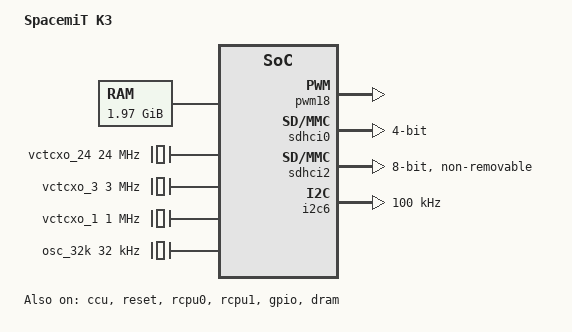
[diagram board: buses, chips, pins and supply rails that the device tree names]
// SPDX-License-Identifier: GPL-2.0+ OR MIT
/*
 * Copyright (C) 2025-2026, Spacemit
 *
 * SpacemiT K3 (X100) SoC base device tree for the upstream port.
 *
 * This describes the SoC. Board files (e.g. k3-pico-itx.dts) include it and
 * enable / override the peripherals their hardware wires up.
 *
 * The same DTB is consumed by two phases:
 *  - The SPL (XPL, M-mode FSBL) is fed the fdtgrep-filtered copy that keeps
 *    only the nodes tagged "bootph-*". The SPL needs the boot UART (for the DM
 *    console) and the DDR controller (UCLASS_RAM probe brings up DRAM).
 *  - U-Boot proper (S-mode, after OpenSBI) uses the full tree to bind its
 *    console and report memory.
 *
 * DDR init needs none of the clock/reset/pinctrl nodes: the controller is
 * clocked by the BROM and the driver only reads its two register banks plus
 * the "part-number" fallback (see drivers/ddr/spacemit/k3/ddr_init.c).
 */

#include <dt-bindings/clock/spacemit-k3-clock.h>
#include <dt-bindings/reset/spacemit-k3-reset.h>
#include <dt-bindings/pinctrl/k3-pinctrl.h>

/ {
	#address-cells = <2>;
	#size-cells = <2>;
	model = "SpacemiT K3";
	compatible = "spacemit,k3";

	aliases {
		serial0 = &uart0;
		mmc0 = &sdhci0;
		mmc2 = &sdhci2;
		i2c1 = &i2c1;
		i2c2 = &i2c2;
		i2c6 = &i2c6;
		i2c8 = &i2c8;
		spi0 = &qspi;
	};

	chosen {
		stdout-path = "serial0:115200";
	};

	cpus {
		bootph-all;
		#address-cells = <1>;
		#size-cells = <0>;
		timebase-frequency = <24000000>;
		clocks = <&ccu CLK_TOP_DCLK>,
			 <&ccu CLK_AXICLK>,
			 <&ccu CLK_CCI550>,
			 <&ccu CLK_CPU_C0_CORE>,
			 <&ccu CLK_CPU_C1_CORE>,
			 <&ccu CLK_CPU_C2_CORE>,
			 <&ccu CLK_CPU_C3_CORE>,
			 <&ccu CLK_PLL3>,
			 <&ccu CLK_PLL4>,
			 <&ccu CLK_PLL5>,
			 <&ccu CLK_PLL8>,
			 <&ccu CLK_PLL3_D1>,
			 <&ccu CLK_CPU_C1_PLL_SRC>,
			 <&ccu CLK_PLL5_D1>,
			 <&ccu CLK_CPU_C3_PLL_SRC>;
		clock-names = "topd", "axi", "cci", "cluster0", "cluster1", "cluster2", "cluster3",
			       "pll3", "pll4", "pll5", "pll8", "pll_src3", "clt1_pll_src", "pll_src5", "clt3_pll_src";
		topd_frequency = <800000000>;
		axi_frequency =  <307000000>;
		cci_frequency =  <1228000000>;
		cluster0_frequency = <2200000000>;
		cluster1_frequency = <2200000000>;
		cluster2_frequency = <1800000000>;
		cluster3_frequency = <1800000000>;

		cpu_0: cpu@0 {
			device_type = "cpu";
			reg = <0>;
			status = "okay";
			compatible = "riscv";
			riscv,isa = "rv64imafdcvh_zicbom_sstc_svpbmt";
			riscv,isa-base = "rv64i";
			riscv,cbom-block-size = <64>;
			riscv,cboz-block-size = <64>;
			mmu-type = "riscv,sv39";

			cpu0_intc: interrupt-controller {
				#interrupt-cells = <1>;
				compatible = "riscv,cpu-intc";
				interrupt-controller;
			};
		};

		cpu_1: cpu@1 {
			device_type = "cpu";
			reg = <1>;
			status = "okay";
			compatible = "riscv";
			riscv,isa = "rv64imafdcvh_zicbom_sstc_svpbmt";
			riscv,isa-base = "rv64i";
			riscv,cbom-block-size = <64>;
			riscv,cboz-block-size = <64>;
			mmu-type = "riscv,sv39";

			cpu1_intc: interrupt-controller {
				#interrupt-cells = <1>;
				compatible = "riscv,cpu-intc";
				interrupt-controller;
			};
		};

		cpu_2: cpu@2 {
			device_type = "cpu";
			reg = <2>;
			status = "okay";
			compatible = "riscv";
			riscv,isa = "rv64imafdcvh_zicbom_sstc_svpbmt";
			riscv,isa-base = "rv64i";
			riscv,cbom-block-size = <64>;
			riscv,cboz-block-size = <64>;
			mmu-type = "riscv,sv39";

			cpu2_intc: interrupt-controller {
				#interrupt-cells = <1>;
				compatible = "riscv,cpu-intc";
				interrupt-controller;
			};
		};

		cpu_3: cpu@3 {
			device_type = "cpu";
			reg = <3>;
			status = "okay";
			compatible = "riscv";
			riscv,isa = "rv64imafdcvh_zicbom_sstc_svpbmt";
			riscv,isa-base = "rv64i";
			riscv,cbom-block-size = <64>;
			riscv,cboz-block-size = <64>;
			mmu-type = "riscv,sv39";

			cpu3_intc: interrupt-controller {
				#interrupt-cells = <1>;
				compatible = "riscv,cpu-intc";
				interrupt-controller;
			};
		};

		cpu_4: cpu@4 {
			device_type = "cpu";
			reg = <4>;
			status = "okay";
			compatible = "riscv";
			riscv,isa = "rv64imafdcvh_zicbom_sstc_svpbmt";
			riscv,isa-base = "rv64i";
			riscv,cbom-block-size = <64>;
			riscv,cboz-block-size = <64>;
			mmu-type = "riscv,sv39";

			cpu4_intc: interrupt-controller {
				#interrupt-cells = <1>;
				compatible = "riscv,cpu-intc";
				interrupt-controller;
			};
		};

		cpu_5: cpu@5 {
			device_type = "cpu";
			reg = <5>;
			status = "okay";
			compatible = "riscv";
			riscv,isa = "rv64imafdcvh_zicbom_sstc_svpbmt";
			riscv,isa-base = "rv64i";
			riscv,cbom-block-size = <64>;
			riscv,cboz-block-size = <64>;
			mmu-type = "riscv,sv39";

			cpu5_intc: interrupt-controller {
				#interrupt-cells = <1>;
				compatible = "riscv,cpu-intc";
				interrupt-controller;
			};
		};

		cpu_6: cpu@6 {
			device_type = "cpu";
			reg = <6>;
			status = "okay";
			compatible = "riscv";
			riscv,isa = "rv64imafdcvh_zicbom_sstc_svpbmt";
			riscv,isa-base = "rv64i";
			riscv,cbom-block-size = <64>;
			riscv,cboz-block-size = <64>;
			mmu-type = "riscv,sv39";

			cpu6_intc: interrupt-controller {
				#interrupt-cells = <1>;
				compatible = "riscv,cpu-intc";
				interrupt-controller;
			};
		};

		cpu_7: cpu@7 {
			device_type = "cpu";
			reg = <7>;
			status = "okay";
			compatible = "riscv";
			riscv,isa = "rv64imafdcvh_zicbom_sstc_svpbmt";
			riscv,isa-base = "rv64i";
			riscv,cbom-block-size = <64>;
			riscv,cboz-block-size = <64>;
			mmu-type = "riscv,sv39";

			cpu7_intc: interrupt-controller {
				#interrupt-cells = <1>;
				compatible = "riscv,cpu-intc";
				interrupt-controller;
			};
		};
	};

	memory@100000000 {
		device_type = "memory";
		reg = <0x1 0x02000000 0x0 0x7e000000>;
	};

	vctcxo_24: vctcxo_24 {
		bootph-all;
		compatible = "fixed-clock";
		#clock-cells = <0>;
		clock-frequency = <24000000>;
		clock-output-names = "vctcxo_24";
	};

	vctcxo_3: vctcxo_3 {
		bootph-all;
		compatible = "fixed-clock";
		#clock-cells = <0>;
		clock-frequency = <3000000>;
		clock-output-names = "vctcxo_3";
	};

	vctcxo_1: vctcxo_1 {
		bootph-all;
		compatible = "fixed-clock";
		#clock-cells = <0>;
		clock-frequency = <1000000>;
		clock-output-names = "vctcxo_1";
	};

	pll1_vco: pll1_vco {
		bootph-all;
		compatible = "fixed-clock";
		#clock-cells = <0>;
		clock-frequency = <24576000>;
		clock-output-names = "pll1_vco";
	};

	osc_32k: osc_32k {
		bootph-all;
		compatible = "fixed-clock";
		#clock-cells = <0>;
		clock-frequency = <32000>;
		clock-output-names = "osc_32k";
	};

	clk_dummy: clk_dummy {
		bootph-all;
		compatible = "fixed-clock";
		#clock-cells = <0>;
		clock-frequency = <0>;
		clock-output-names = "clk_dummy";
	};

	soc: soc {
		#address-cells = <2>;
		#size-cells = <2>;
		compatible = "simple-bus";
		ranges;

		uart0: serial@d4017000 {
			compatible = "ns16550";
			reg = <0x0 0xd4017000 0x0 0x100>;
			reg-shift = <2>;
			reg-io-width = <4>;
			clock-frequency = <14745600>;
			status = "disabled";
		};

		ccu: clock-controller@d4050000 {
			bootph-pre-ram;
			compatible = "spacemit,k3-ccu";
			reg = <0x0 0xd4050000 0x0 0x209c>,
			      <0x0 0xd4282800 0x0 0x400>,
			      <0x0 0xd4015000 0x0 0x1000>,
			      <0x0 0xd4090000 0x0 0x1000>,
			      <0x0 0xd4282c00 0x0 0x400>,
			      <0x0 0xd8440000 0x0 0x98>,
			      <0x0 0xc0000000 0x0 0x4280>,
			      <0x0 0xf0610000 0x0 0x20>,
			      <0x0 0xc0880000 0x0 0xd100>;
			reg-names = "mpmu", "apmu", "apbc", "apbs", "ciu", "dciu", "ddrc", "apbc2", "rcpu";
			clocks = <&vctcxo_24>, <&vctcxo_3>, <&vctcxo_1>, <&pll1_vco>,
				 <&osc_32k>, <&clk_dummy>;
			clock-names = "vctcxo_24", "vctcxo_3", "vctcxo_1", "pll1_vco",
				      "osc_32k", "clk_dummy";
			#clock-cells = <1>;
			status = "okay";
		};

		reset: reset-controller@d4050000 {
			bootph-all;
			compatible = "spacemit,k3-reset";
			reg = <0x0 0xd4050000 0x0 0x209c>,
			      <0x0 0xd4282800 0x0 0x400>,
			      <0x0 0xd4015000 0x0 0x1000>,
			      <0x0 0xd4090000 0x0 0x1000>,
			      <0x0 0xd4282c00 0x0 0x400>,
			      <0x0 0xd8440000 0x0 0x98>,
			      <0x0 0xc0000000 0x0 0x4280>,
			      <0x0 0xf0610000 0x0 0x20>,
			      <0x0 0xc0880000 0x0 0xd100>;
			reg-names = "mpmu", "apmu", "apbc", "apbs", "ciu", "dciu", "ddrc", "apbc2", "rcpu";
			#reset-cells = <1>;
			status = "okay";
		};

		/*
		 * RCPU power processors (ESOS/RT-Thread firmware = the RPMI
		 * agent behind the rpmi-shmem queues below). Loaded and started
		 * by the SPL (FIT post-process hook) BEFORE OpenSBI probes the
		 * RPMI base group. Enabled nodes also arm the OpenSBI PMP locks
		 * on the RCPU memory regions. U-Boot proper never probes them
		 * (driver is SPL-only): a re-probe would memset the heap of a
		 * live RCPU.
		 */
		rcpu0: rcpu@0 {
			compatible = "spacemit,k3-rproc";
			bootph-pre-ram;
			reg = <0x0 0x0 0x0 0x0>;
			remoteproc-name = "rcpu0";
			coreid = <0>;
			mem_heap_start = <0x1 0x500000>;
			mem_heap_size = <0x200000>;
			fw_boot_entry = <0x1 0x200000>;
			status = "okay";
		};

		rcpu1: rcpu@1 {
			compatible = "spacemit,k3-rproc";
			bootph-pre-ram;
			reg = <0x0 0x0 0x0 0x0>;
			remoteproc-name = "rcpu1";
			coreid = <1>;
			mem_heap_start = <0x1 0xb00000>;
			mem_heap_size = <0x200000>;
			fw_boot_entry = <0x1 0x800000>;
			status = "okay";
		};

		rpmi_shmem_mbox: rpmi-shmem-mbox@100e00000 {
			compatible = "riscv,rpmi-shmem-mbox";
			reg = <0x1 0x00e00000 0x0 0x1000>,
			      <0x1 0x00e01000 0x0 0x1000>,
			      <0x1 0x00e02000 0x0 0x1000>,
			      <0x1 0x00e03000 0x0 0x1000>,
			      <0x0 0xcac90c00 0x0 0x200>;
			reg-names = "a2p-req", "p2a-ack", "p2a-req", "a2p-ack", "a2p-doorbell";
			riscv,slot-size = <256>;
			riscv,a2p-doorbell-value = <1>;
			#mbox-cells = <1>;
			status = "okay";
		};

		rpmi_mpxy_device_power: rpmi-mpxy-device-power {
			compatible = "riscv,rpmi-mpxy-device-power";
			mboxes = <&rpmi_shmem_mbox 9>;
			riscv,sbi-mpxy-channel-id = <9>;
			status = "okay";
		};

		gpio: gpio@d4019000 {
			compatible = "spacemit,k3-gpio";
			reg = <0x0 0xd4019000 0x0 0x800>;
			gpio-controller;
			gpio-count = <128>;
			#gpio-cells = <2>;
			clocks = <&ccu CLK_GPIO>;
			status = "okay";
		};

		pinctrl: pinctrl@d401e000 {
			bootph-all;
			compatible = "pinctrl-single";
			reg = <0x0 0xd401e000 0x0 0x400>;
			#address-cells = <1>;
			#size-cells = <1>;
			#pinctrl-cells = <2>;
			#gpio-range-cells = <3>;
			pinctrl-single,register-width = <32>;
			pinctrl-single,function-mask = <0xff77>;

			range: gpio-range {
				#pinctrl-single,gpio-range-cells = <3>;
			};

			pinctrl_qspi: qspi_grp {
				bootph-all;
				power-source = <1800>;
				pinctrl-single,pins = <
					K3_PADCONF(QSPI_DAT3, MUX_MODE0, (EDGE_NONE | PULL_DIS | PAD_DS8)) /* qspi_d3 */
					K3_PADCONF(QSPI_DAT2, MUX_MODE0, (EDGE_NONE | PULL_DIS | PAD_DS8)) /* qspi_d2 */
					K3_PADCONF(QSPI_DAT1, MUX_MODE0, (EDGE_NONE | PULL_DIS | PAD_DS8)) /* qspi_d1 */
					K3_PADCONF(QSPI_DAT0, MUX_MODE0, (EDGE_NONE | PULL_DIS | PAD_DS8)) /* qspi_d0 */
					K3_PADCONF(QSPI_CLK, MUX_MODE0, (EDGE_NONE | PULL_DIS | PAD_DS8)) /* qspi_clk */
				>;
			};

			pinctrl_qspi_cs0: qspi_cs0_grp {
				bootph-all;
				power-source = <1800>;
				pinctrl-single,pins = <
					K3_PADCONF(QSPI_CS0, MUX_MODE0, (EDGE_NONE | PULL_UP | PAD_DS8)) /* qspi_cs0 */
				>;
			};

			pinctrl_i2c8: i2c8_grp {
				bootph-all;
				power-source = <1800>;
				pinctrl-single,pins = <
					K3_PADCONF(PWR_SCL, MUX_MODE0, (EDGE_NONE | PULL_UP | PAD_DS0)) /* pwr_scl */
					K3_PADCONF(PWR_SDA, MUX_MODE0, (EDGE_NONE | PULL_UP | PAD_DS0)) /* pwr_sda */
				>;
			};

			pinctrl_espi0: espi0_grp {
				pinctrl-single,pins = <
					K3_PADCONF(GPIO_91, MUX_MODE4, (EDGE_NONE | PULL_UP | PAD_DS8)) /* espi_d0 */
					K3_PADCONF(GPIO_92, MUX_MODE4, (EDGE_NONE | PULL_UP | PAD_DS8)) /* espi_d1 */
					K3_PADCONF(GPIO_93, MUX_MODE4, (EDGE_NONE | PULL_UP | PAD_DS8)) /* espi_d2 */
					K3_PADCONF(GPIO_94, MUX_MODE4, (EDGE_NONE | PULL_UP | PAD_DS8)) /* espi_d3 */
					K3_PADCONF(GPIO_95, MUX_MODE4, (EDGE_NONE | PULL_UP | PAD_DS8)) /* espi_cs */
					K3_PADCONF(GPIO_96, MUX_MODE4, (EDGE_NONE | PULL_UP | PAD_DS8)) /* espi_clk */
					K3_PADCONF(GPIO_97, MUX_MODE4, (EDGE_NONE | PULL_UP | PAD_DS8)) /* espi_resetn */
					K3_PADCONF(GPIO_98, MUX_MODE4, (EDGE_NONE | PULL_UP | PAD_DS8)) /* espi_alert */
				>;
			};

			pinctrl_i2c1_3: i2c1_3_grp {
				pinctrl-single,pins = <
					K3_PADCONF(GPIO_102, MUX_MODE6, (EDGE_NONE | PULL_UP | PAD_DS0)) /* i2c1_scl */
					K3_PADCONF(GPIO_103, MUX_MODE6, (EDGE_NONE | PULL_UP | PAD_DS0)) /* i2c1_sda */
				>;
			};

			pinctrl_i2c2_1: i2c2_1_grp {
				pinctrl-single,pins = <
					K3_PADCONF(GPIO_46, MUX_MODE5, (EDGE_NONE | PULL_UP | PAD_DS0)) /* i2c2_scl */
					K3_PADCONF(GPIO_47, MUX_MODE5, (EDGE_NONE | PULL_UP | PAD_DS0)) /* i2c2_sda */
				>;
			};

			pinctrl_gmac0: gmac0_grp {
				pinctrl-single,pins = <
					K3_PADCONF(GPIO_00, MUX_MODE1, (EDGE_NONE | PULL_DIS | PAD_DS4)) /* gmac0_rxdv */
					K3_PADCONF(GPIO_01, MUX_MODE1, (EDGE_NONE | PULL_DIS | PAD_DS4)) /* gmac0_rx_d0 */
					K3_PADCONF(GPIO_02, MUX_MODE1, (EDGE_NONE | PULL_DIS | PAD_DS4)) /* gmac0_rx_d1 */
					K3_PADCONF(GPIO_03, MUX_MODE1, (EDGE_NONE | PULL_DIS | PAD_DS4)) /* gmac0_rx_clk */
					K3_PADCONF(GPIO_04, MUX_MODE1, (EDGE_NONE | PULL_DIS | PAD_DS4)) /* gmac0_rx_d2 */
					K3_PADCONF(GPIO_05, MUX_MODE1, (EDGE_NONE | PULL_DIS | PAD_DS4)) /* gmac0_rx_d3 */
					K3_PADCONF(GPIO_06, MUX_MODE1, (EDGE_NONE | PULL_DIS | PAD_DS4)) /* gmac0_tx_d0 */
					K3_PADCONF(GPIO_07, MUX_MODE1, (EDGE_NONE | PULL_DIS | PAD_DS4)) /* gmac0_tx_d1 */
					K3_PADCONF(GPIO_08, MUX_MODE1, (EDGE_NONE | PULL_DIS | PAD_DS4)) /* gmac0_tx_clk */
					K3_PADCONF(GPIO_09, MUX_MODE1, (EDGE_NONE | PULL_DIS | PAD_DS4)) /* gmac0_tx_d2 */
					K3_PADCONF(GPIO_10, MUX_MODE1, (EDGE_NONE | PULL_DIS | PAD_DS4)) /* gmac0_tx_d3 */
					K3_PADCONF(GPIO_11, MUX_MODE1, (EDGE_NONE | PULL_DIS | PAD_DS4)) /* gmac0_tx_en */
					K3_PADCONF(GPIO_12, MUX_MODE1, (EDGE_NONE | PULL_DIS | PAD_DS4)) /* gmac0_mdc */
					K3_PADCONF(GPIO_13, MUX_MODE1, (EDGE_NONE | PULL_DIS | PAD_DS4)) /* gmac0_mdio */
					K3_PADCONF(GPIO_14, MUX_MODE1, (EDGE_NONE | PULL_DIS | PAD_DS4)) /* gmac0_int_n */
					K3_PADCONF(GPIO_20, MUX_MODE1, (EDGE_NONE | PULL_DIS | PAD_DS4)) /* gmac0_clk_ref */
				>;
			};

			pinctrl_pcie0_1: pcie0_1_grp {
				pinctrl-single,pins = <
					K3_PADCONF(GPIO_79, MUX_MODE5, (EDGE_NONE | PULL_DIS | PAD_DS4)) /* PCIeA_perstn */
					K3_PADCONF(GPIO_80, MUX_MODE5, (EDGE_NONE | PULL_DIS | PAD_DS4)) /* PCIeA_waken */
					K3_PADCONF(GPIO_81, MUX_MODE5, (EDGE_NONE | PULL_DIS | PAD_DS4)) /* PCIeA_clkreqn */
				>;
			};

			pinctrl_pcie1_1: pcie1_1_grp {
				pinctrl-single,pins = <
					K3_PADCONF(GPIO_88, MUX_MODE4, (EDGE_NONE | PULL_DIS | PAD_DS4)) /* PCIeB_perstn */
					K3_PADCONF(GPIO_89, MUX_MODE4, (EDGE_NONE | PULL_DIS | PAD_DS4)) /* PCIeB_waken */
					K3_PADCONF(GPIO_90, MUX_MODE4, (EDGE_NONE | PULL_DIS | PAD_DS4)) /* PCIeB_clkreqn */
				>;
			};
		};

		/*
		 * DDR controller. Two register banks (ddrc0, ddrc1). The driver
		 * (compatible "spacemit,snps-lp45") runs LPDDR4X/LPDDR5 training
		 * in the SPL. "part-number" is the fallback used when the board
		 * TLV-EEPROM is unavailable (it is on this port).
		 */
		dram: ddr@cb000000 {
			compatible = "spacemit,snps-lp45";
			part-number = "MT62F1G32D2DS";
			reg = <0x0 0xcb000000 0x0 0x00400000>,
			      <0x0 0xcc000000 0x0 0x00400000>;
			reg-names = "ddrc0", "ddrc1";
			status = "okay";
		};

		/*
		 * USB3 Port A, used by the BROM as the USB-download (--dfu)
		 * controller. The SPL brings up the DWC3 gadget here to receive
		 * u-boot.itb over fastboot.
		 */
		usb3_porta_u2phy: phy@cad20000 {
			compatible = "spacemit,usb2-phy";
			reg = <0x0 0xcad20000 0x0 0x200>;
			#phy-cells = <0>;
			status = "disabled";
		};

		usb3_porta_u3phy: phy@cad30000 {
			compatible = "spacemit,k3-usb3-phy";
			reg = <0x0 0xcad30000 0x0 0x200>,
			      <0x0 0xd4282800 0x0 0x114>,
			      <0x0 0xd4090000 0x0 0x200>;
			reg-names = "puphy",
				    "spacemit,syscon-apmu",
				    "spacemit,syscon-apb-spare";
			phy-nums = <1>;
			#phy-cells = <0>;
			status = "disabled";
		};

		usb3_porta: usb3@0 {
			bootph-all;
			compatible = "spacemit,k3-dwc3";
			#address-cells = <2>;
			#size-cells = <2>;
			resets = <&reset RESET_USB3_PORTA>;
			reset-names = "ctl_rst";
			clocks = <&ccu CLK_USB3_PORTA_BUS>;
			clock-names = "bus";
			ranges;
			status = "disabled";

			dwc3@cad00000 {
				bootph-all;
				reg = <0x0 0xcad00000 0x0 0x10000>;
				dr_mode = "peripheral";
				maximum-speed = "high-speed";
				/*
				 * this breaks FPGA usb,
				 * set utmi_wide if running on FPGA
				 */
				phy_type = "utmi";
				snps,dis_enblslpm_quirk;
				snps,dis_u2_susphy_quirk;
				snps,dis_u3_susphy_quirk;
				snps,del_phy_power_chg_quirk;
				snps,dis-tx-ipgap-linecheck-quirk;
				snps,parkmode-disable-ss-quirk;
				phys = <&usb3_porta_u3phy>, <&usb3_porta_u2phy>;
				phy-names = "usb3-phy", "usb2-phy";
			};
		};

		/*
		 * USB3 Port D, exposed as a TypeC (USB3/DP/Power) port on the
		 * board. Host mode. Used by U-Boot proper only.
		 */
		usb3_portd_u2phy: phy@81b00000 {
			compatible = "spacemit,usb2-phy";
			reg = <0x0 0x81b00000 0x0 0x200>;
			#phy-cells = <0>;
			status = "disabled";
		};

		usb3_portd_u3phy: phy@82100000 {
			compatible = "spacemit,k3-usb3-phy";
			reg = <0x0 0x82100000 0x0 0x200>,
			      <0x0 0xd4282800 0x0 0x114>,
			      <0x0 0xd4090000 0x0 0x200>;
			reg-names = "puphy",
				    "spacemit,syscon-apmu",
				    "spacemit,syscon-apb-spare";
			combo-usb-bit = <0>;
			phy-nums = <1>;
			#phy-cells = <0>;
			status = "disabled";
		};

		usb3_portd: usb3@3 {
			compatible = "spacemit,k3-dwc3";
			#address-cells = <2>;
			#size-cells = <2>;
			resets = <&reset RESET_USB3_PORTD>;
			reset-names = "ctl_rst";
			clocks = <&ccu CLK_USB3_PORTD_BUS>;
			clock-names = "bus";
			ranges;
			status = "disabled";

			dwc3@81a00000 {
				reg = <0x0 0x81a00000 0x0 0x10000>;
				dr_mode = "host";
				phys = <&usb3_portd_u3phy>, <&usb3_portd_u2phy>;
				phy-names = "usb3-phy", "usb2-phy";
				phy_type = "utmi";
				snps,dis_enblslpm_quirk;
				snps,dis_u2_susphy_quirk;
				snps,dis_u3_susphy_quirk;
				snps,del_phy_power_chg_quirk;
				snps,dis-tx-ipgap-linecheck-quirk;
				snps,parkmode-disable-ss-quirk;
			};
		};

		/*
		 * USB2.0 host controller (DWC3 in host mode), exposed as an
		 * XHCI controller for USB mass-storage / keyboard from U-Boot
		 * proper. Not used by the SPL (no bootph tag).
		 */
		usb2_host_u2phy: phy@c0a20000 {
			compatible = "spacemit,usb2-phy";
			reg = <0x0 0xc0a20000 0x0 0x200>;
			#phy-cells = <0>;
			status = "disabled";
		};

		usb2_host: usb2@0 {
			compatible = "spacemit,k3-dwc3";
			#address-cells = <2>;
			#size-cells = <2>;
			resets = <&reset RESET_USB2>;
			reset-names = "ctl_rst";
			clocks = <&ccu CLK_USB2_BUS>;
			clock-names = "bus";
			ranges;
			status = "disabled";

			dwc3@c0a00000 {
				reg = <0x0 0xc0a00000 0x0 0x10000>;
				phys = <&usb2_host_u2phy>;
				phy-names = "usb2-phy";
				dr_mode = "host";
				maximum-speed = "high-speed";
				phy_type = "utmi";
				snps,dis_enblslpm_quirk;
				snps,dis_u2_susphy_quirk;
				snps,dis-del-phy-power-chg-quirk;
				snps,dis-tx-ipgap-linecheck-quirk;
			};
		};

		/*
		 * Gigabit ethernet (DesignWare EQOS). No matching driver in this
		 * tree yet (compatible "spacemit,k3-dwmac-eqos"); the node is kept
		 * for board completeness and will simply not bind.
		 */
		eth0: ethernet@cac80000 {
			compatible = "spacemit,k3-dwmac-eqos";
			reg = <0x0 0xcac80000 0x0 0x00002000>;
			apmu-base-reg = <0xd4282800>;
			ctrl-reg = <0x3e4>;
			dline-reg = <0x3e8>;
			clocks = <&ccu CLK_EMAC0_BUS>;
			clock-names = "master_bus_clk";
			resets = <&reset RESET_EMAC0>;
			reset-names = "mac_reset";
			status = "disabled";
		};

		/*
		 * PCIe combo PHYs. PHY0/1 are 2-lane, PHY2-5 are 1-lane. Each
		 * shares the apb_spare register block used for rcal trim.
		 */
		pcie_phy0: pcie-phy0@81d00000 {
			compatible = "spacemit,k3-pcie-phy";
			reg = <0x0 0x81d00000 0x0 0x1000>,
			      <0x0 0xd4090178 0x0 0x8>;
			reg-names = "phy", "apb_spare";

			spacemit,phy-id = <0>;
			spacemit,num-lanes = <2>;
			#phy-cells = <0>;
			status = "disabled";
		};

		pcie_phy1: pcie-phy1@81e00000 {
			compatible = "spacemit,k3-pcie-phy";
			reg = <0x0 0x81e00000 0x0 0x1000>,
			      <0x0 0xd4090178 0x0 0x8>;
			reg-names = "phy", "apb_spare";

			spacemit,phy-id = <1>;
			spacemit,num-lanes = <2>;
			#phy-cells = <0>;
			status = "disabled";
		};

		pcie_phy2: pcie-phy2@81f00000 {
			compatible = "spacemit,k3-pcie-phy";
			reg = <0x0 0x81f00000 0x0 0x400>,
			      <0x0 0xd4090178 0x0 0x8>;
			reg-names = "phy", "apb_spare";

			spacemit,phy-id = <2>;
			spacemit,num-lanes = <1>;
			#phy-cells = <0>;
			status = "disabled";
		};

		pcie_phy3: pcie-phy3@82000000 {
			compatible = "spacemit,k3-pcie-phy";
			reg = <0x0 0x82000000 0x0 0x400>,
			      <0x0 0xd4090178 0x0 0x8>;
			reg-names = "phy", "apb_spare";

			spacemit,phy-id = <3>;
			spacemit,num-lanes = <1>;
			#phy-cells = <0>;
			status = "disabled";
		};

		pcie_phy4: pcie-phy4@82100000 {
			compatible = "spacemit,k3-pcie-phy";
			reg = <0x0 0x82100000 0x0 0x400>,
			      <0x0 0xd4090178 0x0 0x8>;
			reg-names = "phy", "apb_spare";

			spacemit,phy-id = <4>;
			spacemit,num-lanes = <1>;
			#phy-cells = <0>;
			status = "disabled";
		};

		pcie_phy5: pcie-phy5@82200000 {
			compatible = "spacemit,k3-pcie-phy";
			reg = <0x0 0x82200000 0x0 0x400>,
			      <0x0 0xd4090178 0x0 0x8>;
			reg-names = "phy", "apb_spare";

			spacemit,phy-id = <5>;
			spacemit,num-lanes = <1>;
			#phy-cells = <0>;
			status = "disabled";
		};

		/*
		 * PCIe DesignWare root complexes. NVMe boot storage attaches
		 * here (boot priority 2, after UFS). Used by U-Boot proper only.
		 */
		pcie0_rc: pcie@80000000 {
			compatible = "spacemit,k3-pcie";
			reg = <0x0 0x80000000 0x0 0x00001000>, /* dbi */
			      <0x0 0x80100000 0x0 0x00001000>, /* dbi2 */
			      <0x0 0x80300000 0x0 0x00003f20>, /* atu registers */
			      <0x11 0x00000000 0x0 0x00010000>, /* config space */
			      <0x0 0xd42829f0 0x0 0x00000008>, /* k3 soc config addr */
			      <0x0 0x82900000 0x0 0x00001000>; /* phy ahb */
			reg-names = "dbi", "dbi2", "atu", "config", "app", "phy_ahb";

			spacemit,pcie-mgmt = <0xd42829d8>;
			clocks = <&ccu CLK_PCIEA>;
			resets = <&reset RESET_PCIE_PORTA>;
			reset-names = "pcie-reset";

			spacemit,pcie-port = <0>;
			bus-range = <0x00 0xff>;
			max-link-speed = <3>;
			num-lanes = <2>;

			phys = <&pcie_phy0>;
			phy-names = "pcie-phy0";

			device_type = "pci";
			#address-cells = <3>;
			#size-cells = <2>;
			ranges = <0x01000000 0x0 0x00010000 0x11 0x00010000 0x0 0x00100000>,
				 <0x02000000 0x0 0x00110000 0x11 0x00110000 0x0 0x7fef0000>,
				 <0x43000000 0x18 0x00000000 0x18 0x00000000 0x1 0x00000000>;
			linux,pci-domain = <0>;
			status = "disabled";
		};

		pcie1_rc: pcie@80400000 {
			compatible = "spacemit,k3-pcie";
			reg = <0x0 0x80400000 0x0 0x00001000>, /* dbi */
			      <0x0 0x80500000 0x0 0x00001000>, /* dbi2 */
			      <0x0 0x80700000 0x0 0x00003f20>, /* atu registers */
			      <0x11 0x80000000 0x0 0x00010000>, /* config space */
			      <0x0 0xd42829d0 0x0 0x00000008>, /* k3 soc config addr */
			      <0x0 0x82c00000 0x0 0x00001000>; /* phy ahb */
			reg-names = "dbi", "dbi2", "atu", "config", "app", "phy_ahb";

			spacemit,pcie-mgmt = <0xd42829d8>;
			clocks = <&ccu CLK_PCIEB>;
			resets = <&reset RESET_PCIE_PORTB>;
			reset-names = "pcie-reset";

			spacemit,pcie-port = <1>;
			bus-range = <0x00 0xff>;
			max-link-speed = <3>;
			num-lanes = <2>;

			phys = <&pcie_phy1>;
			phy-names = "pcie-phy0";

			device_type = "pci";
			#address-cells = <3>;
			#size-cells = <2>;
			ranges = <0x01000000 0x0 0x00010000 0x11 0x80010000 0x0 0x00100000>,
				 <0x02000000 0x0 0x80110000 0x11 0x80110000 0x0 0x7fef0000>,
				 <0x43000000 0x16 0x00000000 0x16 0x00000000 0x1 0x00000000>;
			linux,pci-domain = <1>;
			status = "disabled";
		};

		pcie2_rc: pcie@80800000 {
			compatible = "spacemit,k3-pcie";
			reg = <0x0 0x80800000 0x0 0x00001000>, /* dbi */
			      <0x0 0x80900000 0x0 0x00001000>, /* dbi2 */
			      <0x0 0x80b00000 0x0 0x00003f20>, /* atu registers */
			      <0x12 0x00000000 0x0 0x00010000>, /* config space */
			      <0x0 0xd42829c8 0x0 0x00000008>, /* k3 soc config addr */
			      <0x0 0x82d00000 0x0 0x00001000>; /* phy ahb */
			reg-names = "dbi", "dbi2", "atu", "config", "app", "phy_ahb";

			spacemit,pcie-mgmt = <0xd42829d8>;
			clocks = <&ccu CLK_PCIEC>;
			resets = <&reset RESET_PCIE_PORTC>;
			reset-names = "pcie-reset";

			spacemit,pcie-port = <2>;
			bus-range = <0x00 0xff>;
			max-link-speed = <3>;
			num-lanes = <2>;

			phys = <&pcie_phy2>, <&pcie_phy3>;
			phy-names = "pcie-phy0", "pcie-phy1";

			device_type = "pci";
			#address-cells = <3>;
			#size-cells = <2>;
			ranges = <0x01000000 0x0 0x00000000 0x12 0x00010000 0x0 0x00100000>,
				 <0x02000000 0x0 0x00110000 0x12 0x00110000 0x0 0x7fef0000>,
				 <0x43000000 0x15 0x00000000 0x15 0x00000000 0x1 0x00000000>;
			linux,pci-domain = <2>;
			status = "disabled";
		};

		pcie3_rc: pcie@80c00000 {
			compatible = "spacemit,k3-pcie";
			reg = <0x0 0x80c00000 0x0 0x00001000>, /* dbi */
			      <0x0 0x80d00000 0x0 0x00001000>, /* dbi2 */
			      <0x0 0x80f00000 0x0 0x00003f20>, /* atu registers */
			      <0x12 0x80000000 0x0 0x00010000>, /* config space */
			      <0x0 0xd42829e0 0x0 0x00000008>, /* k3 soc config addr */
			      <0x0 0x82a00000 0x0 0x00001000>; /* phy ahb */
			reg-names = "dbi", "dbi2", "atu", "config", "app", "phy_ahb";

			spacemit,pcie-mgmt = <0xd42829d8>;
			clocks = <&ccu CLK_PCIED>;
			resets = <&reset RESET_PCIE_PORTD>;
			reset-names = "pcie-reset";

			spacemit,pcie-port = <3>;
			bus-range = <0x00 0xff>;
			max-link-speed = <3>;
			num-lanes = <1>;

			phys = <&pcie_phy4>;
			phy-names = "pcie-phy0";

			device_type = "pci";
			#address-cells = <3>;
			#size-cells = <2>;
			ranges = <0x01000000 0x0 0x00010000 0x12 0x80010000 0x0 0x100000>,
				 <0x02000000 0x0 0x80110000 0x12 0x80110000 0x0 0x3fef0000>,
				 <0x43000000 0x14 0x00000000 0x14 0x00000000 0x1 0x00000000>;
			linux,pci-domain = <3>;
			status = "disabled";
		};

		pcie4_rc: pcie@81000000 {
			compatible = "spacemit,k3-pcie";
			reg = <0x0 0x81000000 0x0 0x00001000>, /* dbi */
			      <0x0 0x81100000 0x0 0x00001000>, /* dbi2 */
			      <0x0 0x81300000 0x0 0x00003f20>, /* atu registers */
			      <0x12 0xc0000000 0x0 0x00010000>, /* config space */
			      <0x0 0xd42829e8 0x0 0x00000008>, /* k3 soc config addr */
			      <0x0 0x82b00000 0x0 0x00001000>; /* phy ahb */
			reg-names = "dbi", "dbi2", "atu", "config", "app", "phy_ahb";

			spacemit,pcie-mgmt = <0xd42829d8>;
			clocks = <&ccu CLK_PCIEE>;
			resets = <&reset RESET_PCIE_PORTE>;
			reset-names = "pcie-reset";

			spacemit,pcie-port = <4>;
			bus-range = <0x00 0xff>;
			max-link-speed = <3>;
			num-lanes = <1>;

			phys = <&pcie_phy5>;
			phy-names = "pcie-phy0";

			device_type = "pci";
			#address-cells = <3>;
			#size-cells = <2>;
			ranges = <0x01000000 0x0 0x00000000 0x12 0xc0010000 0x0 0x00100000>,
				 <0x02000000 0x0  0xc0110000 0x12 0xc0110000 0x0 0x3fef0000>,
				 <0x43000000 0x13 0x00000000 0x13 0x00000000 0x1 0x00000000>;
			linux,pci-domain = <4>;
			status = "disabled";
		};

		/* PWM (fan / backlight controller). */
		pwm18: pwm@d4022800 {
			compatible = "spacemit,k1x-pwm";
			reg = <0x0 0xd4022800 0x0 0x10>;
			#pwm-cells = <2>;
			clocks = <&ccu CLK_PWM18>;
			resets = <&reset RESET_PWM18>;
			k1x,pwm-disable-fd;
			status = "okay";
		};

		/*
		 * QSPI controller + NOR flash. Primary BROM boot medium. The
		 * memory-mapped read window (qspi-mmap) starts at 0xb8000000.
		 */
		qspi: spi@d420c000 {
			compatible = "spacemit,k3-qspi";
			#address-cells = <1>;
			#size-cells = <0>;
			reg = <0x0 0xd420c000 0x0 0x1000>,
			      <0x0 0xb8000000 0x0 0x4100000>;
			reg-names = "qspi-base", "qspi-mmap";
			pinctrl-names = "default";
			pinctrl-0 = <&pinctrl_qspi &pinctrl_qspi_cs0>;
			qspi-sfa1ad = <0x4000000>;
			qspi-sfa2ad = <0x100000>;
			qspi-sfb1ad = <0x100000>;
			qspi-sfb2ad = <0x100000>;
			qspi-pmuap-reg = <0xd4282860>;
			qspi-mpmu-acgr-reg = <0xd4051024>;
			qspi-ahbread = <0>;
			qspi-freq = <26500000>;
			qspi-id = <4>;
			clocks = <&ccu CLK_QSPI>, <&ccu CLK_QSPI_BUS>;
			clock-names = "qspi_clk", "qspi_bus_clk";
			resets = <&reset RESET_QSPI>, <&reset RESET_QSPI_BUS>;
			reset-names = "qspi_reset", "qspi_bus_reset";
			spi-max-frequency = <81300000>;
			status = "disabled";
		};

		/* SD card slot */
		sdhci0: mmc@d4280000 {
			compatible = "spacemit,k3-sdhci";
			reg = <0x0 0xd4280000 0x0 0x200>;
			resets = <&reset RESET_SDH_AXI>, <&reset RESET_SDH0>;
			reset-names = "sdh_axi", "sdh0";
			clocks = <&ccu CLK_SDH0>, <&ccu CLK_SDH_AXI>;
			clock-names = "sdh-io", "sdh-core";
			bus-width = <4>;
			broken-cd;
			no-1-8-v;
			cap-sd-highspeed;
			sdh-phy-module = <0>;
			status = "okay";
		};

		/* eMMC */
		sdhci2: mmc@d4281000 {
			compatible = "spacemit,k3-sdhci";
			reg = <0x0 0xd4281000 0x0 0x200>;
			resets = <&reset RESET_SDH_AXI>, <&reset RESET_SDH2>;
			reset-names = "sdh_axi", "sdh2";
			clocks = <&ccu CLK_SDH2>, <&ccu CLK_SDH_AXI>;
			clock-names = "sdh-io", "sdh-core";
			bus-width = <8>;
			non-removable;
			mmc-hs400-1_8v;
			mmc-hs400-enhanced-strobe;
			sdh-phy-module = <1>;
			status = "okay";
		};

		/* UFS host controller - super/rootfs storage */
		ufs: ufs@c0e00000 {
			compatible = "spacemit,k3-ufshci";
			reg = <0x0 0xc0e00000 0x0 0x30000>;
			clocks = <&ccu CLK_UFS_ACLK>, <&ccu CLK_UFS_REFCLK>;
			clock-names = "aclk", "refclk";
			resets = <&reset RESET_UFS_ACLK>;
			reset-names = "aclk_reset";
			ref-clk-freq = <19200000>;
			status = "disabled";
		};

		/* eFuse - identity / secure-boot key material */
		efuse: fuse@f0702800 {
			compatible = "spacemit,k3-efuse";
			reg = <0x0 0xf0702800 0x0 0x400>;
			resets = <&reset RESET_AES_WTM>;
			reset-names = "aes_reset";
			clocks = <&ccu CLK_AES_WTM>;
			clock-names = "aes_core_wtm";
			status = "disabled";
		};

		/* General-purpose I2C (TWSI) controllers. */
		i2c1: i2c@d4011000 {
			compatible = "spacemit,i2c";
			reg = <0x0 0xd4011000 0x0 0x38>;
			clocks = <&ccu CLK_TWSI1>;
			resets = <&reset RESET_TWSI1>;
			#address-cells = <1>;
			#size-cells = <0>;
			clock-frequency = <100000>;
			status = "disabled";
		};

		i2c2: i2c@d4012000 {
			compatible = "spacemit,i2c";
			reg = <0x0 0xd4012000 0x0 0x38>;
			clocks = <&ccu CLK_TWSI2>;
			resets = <&reset RESET_TWSI2>;
			#address-cells = <1>;
			#size-cells = <0>;
			clock-frequency = <100000>;
			status = "disabled";
		};

		i2c6: i2c@d4018800 {
			compatible = "spacemit,i2c";
			reg = <0x0 0xd4018800 0x0 0x38>;
			clocks = <&ccu CLK_TWSI6>;
			resets = <&reset RESET_TWSI6>;
			#address-cells = <1>;
			#size-cells = <0>;
			clock-frequency = <100000>;
			status = "okay";
		};

		/* PMU I2C - hosts the system PMIC */
		i2c8: i2c@d401d800 {
			compatible = "spacemit,i2c", "spacemit,k1-i2c";
			reg = <0x0 0xd401d800 0x0 0x38>;
			clocks = <&ccu CLK_TWSI8>;
			resets = <&reset RESET_TWSI8>;
			#address-cells = <1>;
			#size-cells = <0>;
			clock-frequency = <100000>;
			pinctrl-names = "default";
			pinctrl-0 = <&pinctrl_i2c8>;
			status = "disabled";
		};

		espi0: espi@cac8c000 {
			compatible = "spacemit,k2-espi";
			reg = <0x0 0xcac8c000 0x0 0x1000>;
			#address-cells = <1>;
			#size-cells = <0>;
			pinctrl-names = "default";
			pinctrl-0 = <&pinctrl_espi0>;
			clocks = <&ccu CLK_ESPI_SCLK_SRC>, <&ccu CLK_ESPI_SCLK>, <&ccu CLK_ESPI_MCLK>;
			clock-names = "sclk_src", "sclk", "mclk";
			resets = <&reset RESET_ESPI>;
			reset-names = "espi_reset";
			assigned-clocks = <&ccu CLK_ESPI_SCLK>;
			assigned-clock-parents = <&ccu CLK_ESPI_SCLK_SRC>;
			pr_io_base = <0x86000000>;
			pr-mem-base0 = <0x84000000>;
			pr-mem-base1 = <0xcac8c000>;
			operating-frequency = <20>;
			io-mode = "single";
			alert-mode = "io1";
			alert-type = "open-drain";
			vwire-channel-enable;
			oob-channel-enable;
			peripheral-channel-enable;
			flash-channel-enable;
			crc-enable;
			response-modifier-enable;
			auto-gating-enable;
			watchdog-timeout = <0xFFFF>;
			status = "disabled";
		};
	};

	/*
	 * RISC-V interrupt / timer controllers. OpenSBI parses these out of
	 * the U-Boot control DTB: the generic mtimer binds "sifive,clint0"
	 * (timer), and the AIA irqchip binds "riscv,imsics" + "riscv,aplic".
	 * Ported from the kernel DT (arch/riscv/boot/dts/spacemit/k3.dtsi);
	 * only the S-mode-facing controllers are described here.
	 */
	/*
	 * S-mode IMSIC. Geometry must be self-consistent with the 8 X100 harts
	 * enumerated below: the AIA MSI file window spans
	 *   2^hart-index-bits * 2^guest-index-bits * 4KiB == reg size.
	 * With guest-index-bits = 6 (256 KiB stride) 8 harts span exactly 2 MiB,
	 * so hart-index-bits = 3 and reg = 0x200000. The vendor uses 4 / 4 MiB
	 * because it enumerates all 16 harts (8 X100 + 8 A100); keeping that
	 * 16-hart geometry with only 8 harts leaves a phantom slot at
	 * base + reg-size that the kernel IPI path faults on.
	 */
	simsic: interrupt-controller@e0400000 {
		compatible = "spacemit,k3-imsics", "riscv,imsics";
		reg = <0x0 0xe0400000 0x0 0x200000>;
		#interrupt-cells = <0>;
		#msi-cells = <0>;
		interrupt-controller;
		interrupts-extended = <&cpu0_intc 9>, <&cpu1_intc 9>,
				      <&cpu2_intc 9>, <&cpu3_intc 9>,
				      <&cpu4_intc 9>, <&cpu5_intc 9>,
				      <&cpu6_intc 9>, <&cpu7_intc 9>;
		msi-controller;
		riscv,guest-index-bits = <6>;
		riscv,hart-index-bits = <3>;
		riscv,num-guest-ids = <511>;
		riscv,num-ids = <511>;
	};

	/*
	 * M-mode AIA hierarchy for OpenSBI. Device IRQs land on the M-mode
	 * APLIC (maplic), which delegates sources 1..512 to the S-mode APLIC
	 * (saplic) via riscv,delegate; OpenSBI programs the SOURCECFG delegate
	 * bit from these nodes. Without them device MSIs never reach S-mode.
	 * M-mode IMSIC has no guest files -> guest-index-bits=0 -> reg=8*4KiB.
	 */
	mimsic: interrupt-controller@f1000000 {
		compatible = "spacemit,k3-imsics", "riscv,imsics";
		reg = <0x0 0xf1000000 0x0 0x8000>;
		#interrupt-cells = <0>;
		#msi-cells = <0>;
		interrupt-controller;
		interrupts-extended = <&cpu0_intc 11>, <&cpu1_intc 11>,
				      <&cpu2_intc 11>, <&cpu3_intc 11>,
				      <&cpu4_intc 11>, <&cpu5_intc 11>,
				      <&cpu6_intc 11>, <&cpu7_intc 11>;
		msi-controller;
		riscv,hart-index-bits = <3>;
		riscv,num-ids = <511>;
	};

	maplic: interrupt-controller@f1800000 {
		compatible = "spacemit,k3-aplic", "riscv,aplic";
		reg = <0x0 0xf1800000 0x0 0x4000>;
		#interrupt-cells = <2>;
		interrupt-controller;
		msi-parent = <&mimsic>;
		riscv,num-sources = <512>;
		riscv,children = <&saplic>;
		riscv,delegate = <&saplic 1 512>;
	};

	saplic: interrupt-controller@e0804000 {
		compatible = "spacemit,k3-aplic", "riscv,aplic";
		reg = <0x0 0xe0804000 0x0 0x4000>;
		#interrupt-cells = <2>;
		interrupt-controller;
		msi-parent = <&simsic>;
		riscv,num-sources = <512>;
		/* delegated from maplic; OpenSBI must not init it standalone */
		status = "disabled";
	};

	clint: timer@e081c000 {
		compatible = "spacemit,k3-clint", "sifive,clint0";
		reg = <0x0 0xe081c000 0x0 0x4000>;
		interrupts-extended = <&cpu0_intc 3>, <&cpu0_intc 7>,
				      <&cpu1_intc 3>, <&cpu1_intc 7>,
				      <&cpu2_intc 3>, <&cpu2_intc 7>,
				      <&cpu3_intc 3>, <&cpu3_intc 7>,
				      <&cpu4_intc 3>, <&cpu4_intc 7>,
				      <&cpu5_intc 3>, <&cpu5_intc 7>,
				      <&cpu6_intc 3>, <&cpu6_intc 7>,
				      <&cpu7_intc 3>, <&cpu7_intc 7>;
	};
};
